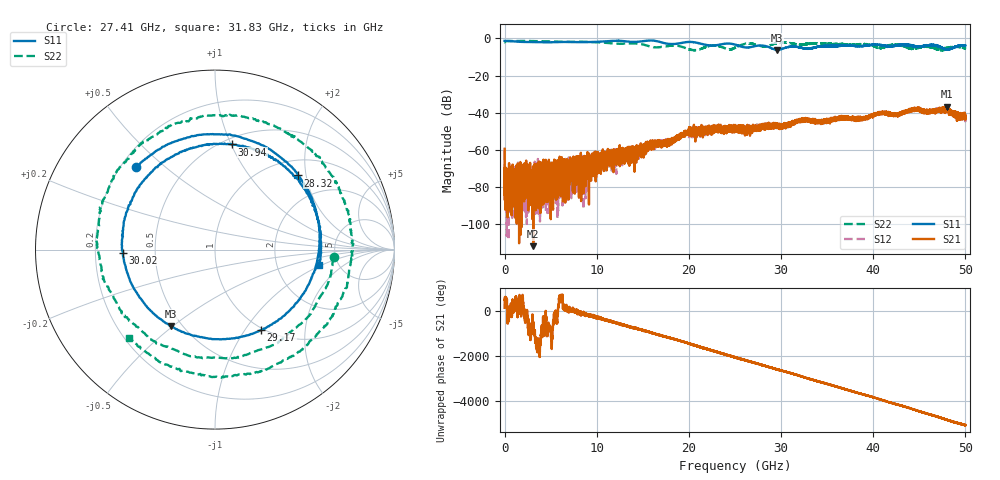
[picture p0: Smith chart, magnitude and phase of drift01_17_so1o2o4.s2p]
!Created with skrf (http://scikit-rf.org).
# Hz S RI R 50.0
!freq ReS11 ImS11 ReS21 ImS21 ReS12 ImS12 ReS22 ImS22
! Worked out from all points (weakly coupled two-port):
!   10001 points, 300 kHz to 50 GHz, reference 50 ohm
!   highest |S21| = -36.70 dB at 47.95 GHz (marker M1); lowest = -111.8 dB at 3.105 GHz (marker M2)
!   lowest |S11| = -6.2 dB at 29.6 GHz (marker M3), VSWR 2.92, Z = 22 - j24.6 ohm
!   |S11| at or under -10 dB: nowhere
!   |S22| runs from -6.6 to -1.4 dB; largest |S21 - S12| = 0.0046
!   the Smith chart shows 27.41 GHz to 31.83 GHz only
!   S11 on the Smith chart (normalised r, x): 27.41 GHz: 0.26, +0.40; 28.32 GHz: 1.34, +1.80; 29.17 GHz: 0.97, -1.19; 30.02 GHz: 0.32, -0.01; 30.94 GHz: 0.56, +1.01; 31.83 GHz: 3.56, -0.92
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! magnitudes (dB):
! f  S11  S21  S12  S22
! 300 kHz  -1.3  -59.4  -60.6  -2.1
! 260.3 MHz  -1.4  -79.4  -78.4  -1.4
! 3.105 GHz  -2.0  -111.8  -87.3  -1.4
! 8.335 GHz  -2.0  -65.6  -69.1  -1.8
! 16.67 GHz  -1.6  -56.9  -57.1  -4.8
! 18.62 GHz  -2.9  -54.0  -53.4  -3.9
! 20.12 GHz  -1.9  -47.8  -49.5  -6.0
! 22.62 GHz  -3.8  -49.4  -49.7  -3.8
! 25 GHz  -3.3  -49.1  -48.7  -5.1
! 27.41 GHz  -3.9  -48.3  -47.4  -3.6
! 28.32 GHz  -4.1  -45.9  -47.1  -4.3
! 29.17 GHz  -5.7  -46.7  -46.6  -3.1
! 29.6 GHz  -6.2  -46.1  -46.9  -2.6
! 30.02 GHz  -5.8  -47.5  -47.5  -2.4
! 30.94 GHz  -4.5  -45.9  -45.7  -2.6
! 31.83 GHz  -4.7  -44.1  -44.0  -3.2
! 33.34 GHz  -5.2  -44.6  -43.8  -2.6
! 41.67 GHz  -4.2  -40.5  -40.5  -4.1
! 44.5 GHz  -4.2  -37.5  -37.8  -5.5
! 46.49 GHz  -3.5  -38.8  -39.6  -5.0
! 47.95 GHz  -5.9  -36.7  -38.9  -5.4
! 50 GHz  -3.8  -42.3  -42.1  -5.4
